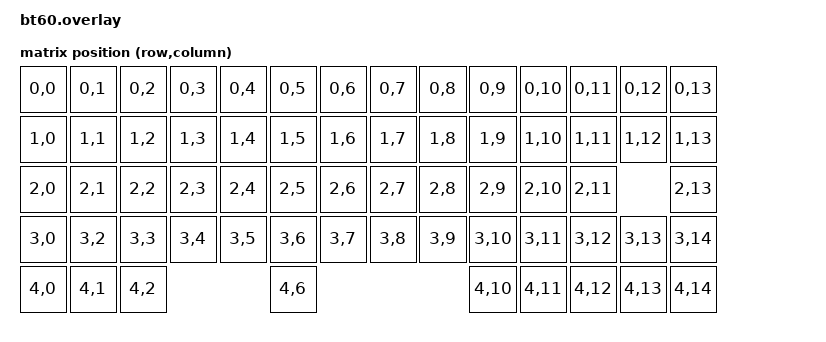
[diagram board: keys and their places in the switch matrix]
/* bt60.overlay - custom 5x15 matrix + custom matrix transform + optional encoder */

#include <dt-bindings/zmk/matrix_transform.h>
// #include "bt60-layouts.dtsi"

 &bt60_custom_layout {
        compatible = "zmk,physical-layout";
        display-name = "BT60-custom";

        kscan = <&kscan0>;
        transform = <&bt60_transform>;

        /* Requires key_physical_attrs to be defined (often via a layouts .dtsi) */

        keys  //                     w   h    x    y     rot    rx    ry
            = <&key_physical_attrs 100 100    0    0       0     0     0>
            , <&key_physical_attrs 100 100  100    0       0     0     0>
            , <&key_physical_attrs 100 100  200    0       0     0     0>
            , <&key_physical_attrs 100 100  300    0       0     0     0>
            , <&key_physical_attrs 100 100  400    0       0     0     0>
            , <&key_physical_attrs 100 100  500    0       0     0     0>
            , <&key_physical_attrs 100 100  600    0       0     0     0>
            , <&key_physical_attrs 100 100  700    0       0     0     0>
            , <&key_physical_attrs 100 100  800    0       0     0     0>
            , <&key_physical_attrs 100 100  900    0       0     0     0>
            , <&key_physical_attrs 100 100 1000    0       0     0     0>
            , <&key_physical_attrs 100 100 1100    0       0     0     0>
            , <&key_physical_attrs 100 100 1200    0       0     0     0>
            , <&key_physical_attrs 100 100 1300    0       0     0     0>
            , <&key_physical_attrs 100 100 1400    0       0     0     0>
            , <&key_physical_attrs 150 100    0  100       0     0     0>
            , <&key_physical_attrs 100 100  150  100       0     0     0>
            , <&key_physical_attrs 100 100  250  100       0     0     0>
            , <&key_physical_attrs 100 100  350  100       0     0     0>
            , <&key_physical_attrs 100 100  450  100       0     0     0>
            , <&key_physical_attrs 100 100  550  100       0     0     0>
            , <&key_physical_attrs 100 100  650  100       0     0     0>
            , <&key_physical_attrs 100 100  750  100       0     0     0>
            , <&key_physical_attrs 100 100  850  100       0     0     0>
            , <&key_physical_attrs 100 100  950  100       0     0     0>
            , <&key_physical_attrs 100 100 1050  100       0     0     0>
            , <&key_physical_attrs 100 100 1150  100       0     0     0>
            , <&key_physical_attrs 100 100 1250  100       0     0     0>
            , <&key_physical_attrs 150 100 1350  100       0     0     0>
            , <&key_physical_attrs 175 100    0  200       0     0     0>
            , <&key_physical_attrs 100 100  175  200       0     0     0>
            , <&key_physical_attrs 100 100  275  200       0     0     0>
            , <&key_physical_attrs 100 100  375  200       0     0     0>
            , <&key_physical_attrs 100 100  475  200       0     0     0>
            , <&key_physical_attrs 100 100  575  200       0     0     0>
            , <&key_physical_attrs 100 100  675  200       0     0     0>
            , <&key_physical_attrs 100 100  775  200       0     0     0>
            , <&key_physical_attrs 100 100  875  200       0     0     0>
            , <&key_physical_attrs 100 100  975  200       0     0     0>
            , <&key_physical_attrs 100 100 1075  200       0     0     0>
            , <&key_physical_attrs 100 100 1175  200       0     0     0>
            , <&key_physical_attrs 225 100 1275  200       0     0     0>
            , <&key_physical_attrs 200 100    0  300       0     0     0>
            , <&key_physical_attrs 100 100  200  300       0     0     0>
            , <&key_physical_attrs 100 100  300  300       0     0     0>
            , <&key_physical_attrs 100 100  400  300       0     0     0>
            , <&key_physical_attrs 100 100  500  300       0     0     0>
            , <&key_physical_attrs 100 100  600  300       0     0     0>
            , <&key_physical_attrs 100 100  700  300       0     0     0>
            , <&key_physical_attrs 100 100  800  300       0     0     0>
            , <&key_physical_attrs 100 100  900  300       0     0     0>
            , <&key_physical_attrs 100 100 1000  300       0     0     0>
            , <&key_physical_attrs 100 100 1100  300       0     0     0>
            , <&key_physical_attrs 100 100 1200  300       0     0     0>
            , <&key_physical_attrs 100 100 1300  300       0     0     0>
            , <&key_physical_attrs 100 100 1400  300       0     0     0>
            , <&key_physical_attrs 125 100    0  400       0     0     0>
            , <&key_physical_attrs 125 100  125  400       0     0     0>
            , <&key_physical_attrs 125 100  250  400       0     0     0>
            , <&key_physical_attrs 625 100  375  400       0     0     0>
            , <&key_physical_attrs 100 100 1000  400       0     0     0>
            , <&key_physical_attrs 100 100 1100  400       0     0     0>
            , <&key_physical_attrs 100 100 1200  400       0     0     0>
            , <&key_physical_attrs 100 100 1300  400       0     0     0>
            , <&key_physical_attrs 100 100 1400  400       0     0     0>
            ;
    };

/ {
	// chosen {
	// 	zmk,kscan = &kscan0;
	// 	zmk,matrix-transform = &bt60_transform;
	// 	zmk,physical-layout = &physical_layout0;
	// };

    /* -----------------------------------------------------------------
     * Matrix transform
     * Maps keymap positions -> physical matrix RC(row,col)
     * ----------------------------------------------------------------- */
    bt60_transform: bt60_transform {
        compatible = "zmk,matrix-transform";
        rows = <5>;
        columns = <15>;

        map = <
            RC(0,0)  RC(0,1)  RC(0,2)  RC(0,3)  RC(0,4)  RC(0,5)  RC(0,6)  RC(0,7)  RC(0,8)  RC(0,9)  RC(0,10) RC(0,11) RC(0,12) RC(0,13)
            RC(1,0)  RC(1,1)  RC(1,2)  RC(1,3)  RC(1,4)  RC(1,5)  RC(1,6)  RC(1,7)  RC(1,8)  RC(1,9)  RC(1,10) RC(1,11) RC(1,12) RC(1,13)
            RC(2,0)  RC(2,1)  RC(2,2)  RC(2,3)  RC(2,4)  RC(2,5)  RC(2,6)  RC(2,7)  RC(2,8)  RC(2,9)  RC(2,10) RC(2,11)            RC(2,13)
            RC(3,0)            RC(3,2)  RC(3,3)  RC(3,4)  RC(3,5)  RC(3,6)  RC(3,7)  RC(3,8)  RC(3,9)  RC(3,10) RC(3,11) RC(3,12) RC(3,13) RC(3,14)
            RC(4,0)  RC(4,1)  RC(4,2)                      RC(4,6)                       RC(4,10) RC(4,11) RC(4,12) RC(4,13) RC(4,14)
        >;
    };

};

